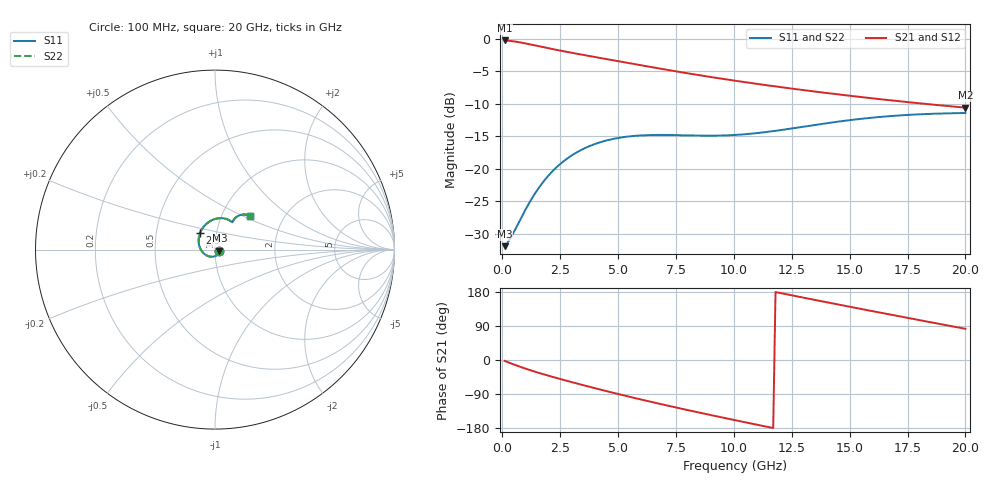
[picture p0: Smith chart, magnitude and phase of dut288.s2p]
! Touchstone file exported from HFSS 2023.1.0
!  File:  D:/Users/fzz/RDL_TSV/temp_RDL_TSV_288_1778763345.aedt
!  Generated:  9:05:49 %x4E0B%x5348  5%x6708 14, 2026
!  Design:  RDL_TSV
!  Project:  temp_RDL_TSV_288_1778763345
!  Setup:  Setup1
!  Solution:  Sweep
! Variables:
!  dtsv = 19.9um
!  hbump = 3um
!  htsv = 76.76um
!  ldown = 336.22um
!  lrdl = 604.61um
!  p = 40
!  p1 = 43.57um
!  rhole = 10um
!  subl = 3427.1um
!  t = 450um
!  tdown = 2.11um
!  trdl = 3.74um
!  viad = 10um
!  wdown = 10.76um
!  wrdl = 22.99um
!  xbump = 18um
# GHz S MA R 50.000000
! Terminal data exported
! Port[1] = TM1_1_T1
! Port[2] = TM1_4_T1
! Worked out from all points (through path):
!   200 points, 100 MHz to 20 GHz, reference 50 ohm
!   highest |S21| = -0.23 dB at 100 MHz (marker M1); lowest = -10.6 dB at 20 GHz (marker M2)
!   group delay of S21, straight-line fit = 37 ps
!   lowest |S11| = -31.9 dB at 100 MHz (marker M3), VSWR 1.05, Z = 52.5 - j0.673 ohm
!   |S11| at or under -10 dB: start of sweep to end of sweep
!   |S22| runs from -31.9 to -11.4 dB; largest |S21 - S12| = 1.3e-14
!   S11 on the Smith chart (normalised r, x): 100 MHz: 1.05, -0.01; 2.9 GHz: 0.83, +0.15; 20 GHz: 1.35, +0.55
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0.1  0.02543 -14.6  0.974 -2.5  0.974 -2.5  0.02543 -14.6
! Gamma 0 0 0 0
! Port Impedance 50 0 50 0
0.4  0.03029 -58.7  0.9635 -9.6  0.9635 -9.6  0.0303 -58.6
0.8  0.04148 -107.5  0.9393 -18.5  0.9393 -18.5  0.0415 -107.5
1.4  0.06421 -158.4  0.8932 -30.6  0.8932 -30.6  0.06418 -158.3
1.7  0.07665 -177.0  0.87 -36.2  0.87 -36.2  0.07658 -177.0
2.1  0.09321 162.8  0.8408 -43.4  0.8408 -43.4  0.09309 162.8
2.9  0.1236 132.8  0.7888 -56.8  0.7888 -56.8  0.1234 132.9
3.5  0.1426 116.2  0.7538 -66.5  0.7538 -66.5  0.1423 116.3
4.2  0.1598 100.9  0.7157 -77.5  0.7157 -77.5  0.1594 100.9
5  0.173 87.2  0.6747 -89.7  0.6747 -89.7  0.1725 87.2
5.9  0.1806 75.6  0.6316 -102.9  0.6316 -102.9  0.18 75.6
6.8  0.1826 67.3  0.5919 -115.7  0.5919 -115.7  0.182 67.3
7.6  0.1818 62.3  0.5596 -126.7  0.5596 -126.7  0.1812 62.4
8.4  0.1805 59.4  0.5301 -137.4  0.5301 -137.4  0.1799 59.4
9.2  0.1803 57.9  0.5032 -147.9  0.5032 -147.9  0.1797 58.0
10.1  0.1827 57.5  0.4759 -159.4  0.4759 -159.4  0.1821 57.6
11.7  0.1953 57.8  0.4336 -179.5  0.4336 -179.5  0.1947 57.8
13.4  0.2166 56.7  0.3959 159.7  0.3959 159.7  0.2159 56.8
15  0.2372 54.1  0.3657 140.5  0.3657 140.5  0.2366 54.1
16.7  0.2545 50.3  0.3382 120.5  0.3382 120.5  0.2538 50.3
18.3  0.2645 46.8  0.3161 101.9  0.3161 101.9  0.2638 46.9
20  0.2693 44.0  0.2961 82.3  0.2961 82.3  0.2686 44.0
